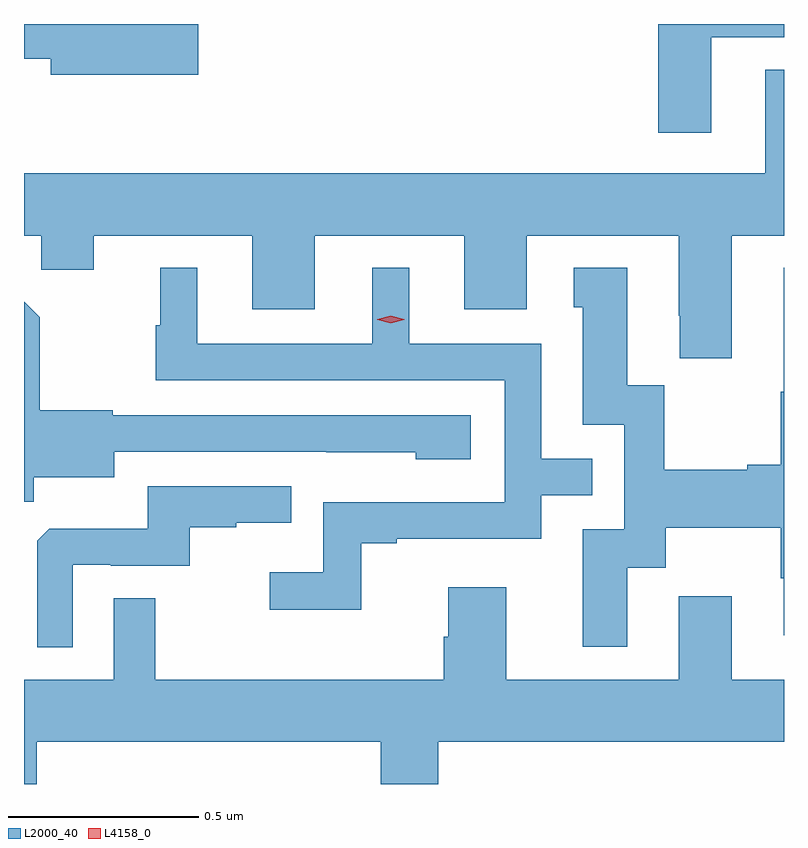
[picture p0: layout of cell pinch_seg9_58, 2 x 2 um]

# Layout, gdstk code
import gdstk
lib = gdstk.Library(unit=1e-6, precision=1e-09)
def P(c, l, *ps):  # polygons
    for p in ps: c.add(gdstk.Polygon(p, *l))
L2000_40 = (2000, 40)
L4158_0 = (4158, 0)

pinch_seg9_58 = lib.new_cell('pinch_seg9_58')
P(pinch_seg9_58, L2000_40, [(913.003,1186.286),(913.194,1186.286),(913.194,1186.321),(912.863,1186.321),(912.863,1186.035),(913.003,1186.035)],
  [(911.653,1186.321),(911.194,1186.321),(911.194,1186.23),(911.264,1186.23),(911.264,1186.187),(911.653,1186.187)],
  [(913.057,1185.764),(913.194,1185.764),(913.194,1186.201),(913.145,1186.201),(913.145,1185.928),(911.194,1185.928),(911.194,1185.764),(911.239,1185.764),(911.239,1185.674),(911.377,1185.674),(911.377,1185.764),(911.795,1185.764),(911.795,1185.57),(911.959,1185.57),(911.959,1185.764),(912.353,1185.764),(912.353,1185.57),(912.517,1185.57),(912.517,1185.764),(912.917,1185.764),(912.917,1185.553),(912.92,1185.553),(912.92,1185.441),(913.057,1185.441)],
  [(912.781,1184.89),(912.883,1184.89),(912.883,1184.996),(913.186,1184.996),(913.186,1184.862),(913.193,1184.862),(913.193,1184.712),(913.194,1184.712),(913.194,1185.679),(913.193,1185.679),(913.193,1185.353),(913.186,1185.353),(913.186,1185.161),(913.097,1185.161),(913.097,1185.148),(912.879,1185.148),(912.879,1185.371),(912.781,1185.371),(912.781,1185.679),(912.641,1185.679),(912.641,1185.576),(912.665,1185.576),(912.665,1185.267),(912.774,1185.267),(912.774,1184.991),(912.665,1184.991),(912.665,1184.682),(912.781,1184.682)],
  [(912.081,1184.955),(912.175,1184.955),(912.175,1184.967),(912.555,1184.967),(912.555,1185.081),(912.689,1185.081),(912.689,1185.177),(912.555,1185.177),(912.555,1185.48),(912.208,1185.48),(912.208,1185.679),(912.11,1185.679),(912.11,1185.48),(911.65,1185.48),(911.65,1185.679),(911.552,1185.679),(911.552,1185.528),(911.541,1185.528),(911.541,1185.384),(912.459,1185.384),(912.459,1185.063),(911.982,1185.063),(911.982,1184.878),(911.841,1184.878),(911.841,1184.78),(912.081,1184.78)],
  [(911.22,1185.128),(911.431,1185.128),(911.431,1185.195),(911.989,1185.195),(911.989,1185.194),(912.225,1185.194),(912.225,1185.176),(912.37,1185.176),(912.37,1185.291),(911.427,1185.291),(911.427,1185.304),(911.235,1185.304),(911.235,1185.549),(911.194,1185.59),(911.194,1185.064),(911.22,1185.064)],
  [(911.322,1184.898),(911.422,1184.898),(911.422,1184.895),(911.63,1184.895),(911.63,1184.997),(911.753,1184.997),(911.753,1185.008),(911.897,1185.008),(911.897,1185.105),(911.52,1185.105),(911.52,1184.993),(911.261,1184.993),(911.229,1184.961),(911.229,1184.681),(911.322,1184.681)],
  [(911.228,1184.432),(912.133,1184.432),(912.133,1184.321),(912.284,1184.321),(912.284,1184.432),(913.194,1184.432),(913.194,1184.596),(913.057,1184.596),(913.057,1184.815),(912.917,1184.815),(912.917,1184.596),(912.463,1184.596),(912.463,1184.839),(912.311,1184.839),(912.311,1184.709),(912.299,1184.709),(912.299,1184.596),(911.539,1184.596),(911.539,1184.81),(911.43,1184.81),(911.43,1184.596),(911.194,1184.596),(911.194,1184.321),(911.228,1184.321)])
P(pinch_seg9_58, L4158_0, [(912.159,1185.533),(912.123,1185.543),(912.123,1185.543),(912.123,1185.544),(912.159,1185.553),(912.195,1185.544),(912.195,1185.543),(912.195,1185.543)])

lib.write_gds('pinch_seg9_58.gds')
